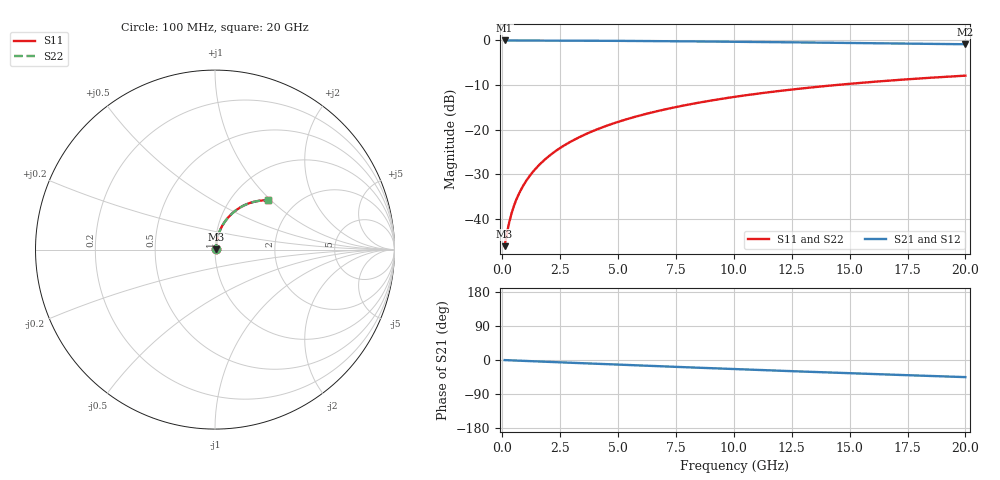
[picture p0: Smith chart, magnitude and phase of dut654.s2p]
! Touchstone file exported from HFSS 2026.1.0
!  File:  C:/ffzhzh/LocalFiles/Ansys_Project_Files/temp_train_BSMRDL_654_1783017031_51716.aedt
!  Generated:  02:32:05 AM Jul  3, 2026
!  Design:  BSMRDL
!  Project:  temp_train_BSMRDL_654_1783017031_51716
! Variables:
!  h_bsmrdl = 3.11um
!  h_ox = 20um
!  h_rdl = 5um
!  h_sub = 80um
!  h_tmrdl = 5um
!  h_tsv = 80um
!  h_via = 3um
!  l_bsmrdl = 672.87um
!  l_sub = 1072.87um
!  l_tmrdl = 200um
!  m_sub = 200um
!  pitch = 42.76um
!  r_tsv = 6um
!  s_tmrdl = 10um
!  w_bsmrdl = 19.55um
!  w_sub = 500um
!  w_tmrdl = 12um
!  x_tsv_center1 = 206um
!  x_tsv_center2 = 898.42um
!  x_tsv_center3 = 1110.42um
!  x_tsv_center4 = 1802.84um
!  x_tsv_center5 = 2014.84um
!  x_tsv_center6 = 2707.26um
# GHz S MA R 50.000000
! Terminal data exported
! Port[1] = BSM_RDL1_1_T1
! Port[2] = BSM_RDL1_1_T2
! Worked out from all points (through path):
!   200 points, 100 MHz to 20 GHz, reference 50 ohm
!   highest |S21| = -0.04 dB at 100 MHz (marker M1); lowest = -0.9 dB at 20 GHz (marker M2)
!   group delay of S21, straight-line fit = 6.28 ps
!   lowest |S11| = -46.1 dB at 100 MHz (marker M3), VSWR 1.01, Z = 50.4 + j0.274 ohm
!   |S11| at or under -10 dB: start of sweep to 14.47 GHz
!   |S22| runs from -46.1 to -7.9 dB; largest |S21 - S12| = 5.2e-15
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0.1  0.004927 33.5  0.9959 -0.3  0.9959 -0.3  0.004927 33.5
! Gamma 0 0 0 0
! Port Impedance 50 0 50 0
0.2  0.006878 51.5  0.9957 -0.5  0.9957 -0.5  0.006878 51.5
0.3  0.009151 60.4  0.9956 -0.8  0.9956 -0.8  0.009151 60.4
0.4  0.0115 65.5  0.9954 -1.0  0.9954 -1.0  0.0115 65.5
0.5  0.01387 68.8  0.9952 -1.3  0.9952 -1.3  0.01387 68.8
0.6  0.01624 71.1  0.995 -1.5  0.995 -1.5  0.01624 71.1
0.8  0.02099 74.1  0.9948 -2.0  0.9948 -2.0  0.02099 74.1
1.1  0.02819 76.6  0.9944 -2.7  0.9944 -2.7  0.02819 76.6
1.3  0.03301 77.6  0.9942 -3.2  0.9942 -3.2  0.03301 77.6
1.6  0.04028 78.3  0.9938 -4.0  0.9938 -4.0  0.04028 78.3
2.1  0.05243 78.7  0.9931 -5.2  0.9931 -5.2  0.05243 78.7
2.7  0.06698 78.4  0.992 -6.6  0.992 -6.6  0.06698 78.4
3.5  0.08627 77.3  0.9902 -8.6  0.9902 -8.6  0.08627 77.3
4.2  0.103 76.1  0.9882 -10.3  0.9882 -10.3  0.103 76.1
5  0.1218 74.6  0.9857 -12.2  0.9857 -12.2  0.1218 74.5
5.9  0.1426 72.7  0.9824 -14.3  0.9824 -14.3  0.1426 72.7
6.8  0.163 70.7  0.9787 -16.5  0.9787 -16.5  0.163 70.7
8.3  0.196 67.5  0.9718 -20.0  0.9718 -20.0  0.196 67.4
10.1  0.2337 63.5  0.9625 -24.1  0.9625 -24.1  0.2337 63.5
13.4  0.2972 56.4  0.9436 -31.4  0.9436 -31.4  0.2972 56.4
16.7  0.3532 49.6  0.9234 -38.5  0.9234 -38.5  0.3532 49.6
20  0.4016 43.1  0.9031 -45.2  0.9031 -45.2  0.4016 43.0
